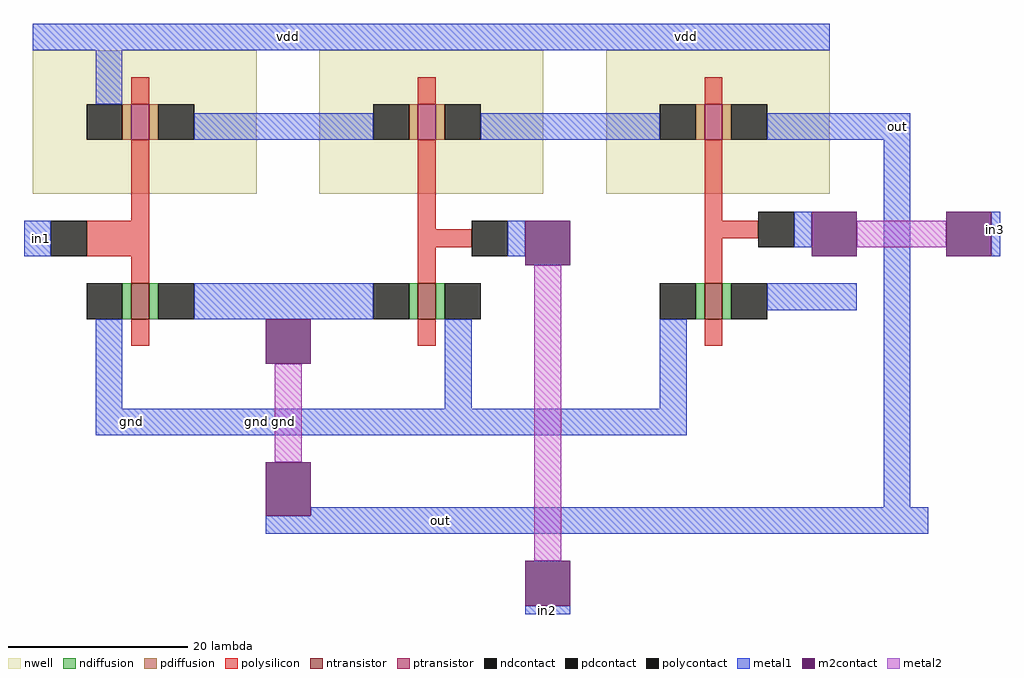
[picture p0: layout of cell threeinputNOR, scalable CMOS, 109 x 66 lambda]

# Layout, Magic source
magic
tech scmos
<< nwell >>
rect 0 0 25 16
rect 32 0 57 16
rect 64 0 89 16
<< ntransistor >>
rect 11 -14 13 -10
rect 43 -14 45 -10
rect 75 -14 77 -10
<< ptransistor >>
rect 11 6 13 10
rect 43 6 45 10
rect 75 6 77 10
<< ndiffusion >>
rect 10 -14 11 -10
rect 13 -14 14 -10
rect 42 -14 43 -10
rect 45 -14 46 -10
rect 74 -14 75 -10
rect 77 -14 78 -10
<< pdiffusion >>
rect 10 6 11 10
rect 13 6 14 10
rect 42 6 43 10
rect 45 6 46 10
rect 74 6 75 10
rect 77 6 78 10
<< ndcontact >>
rect 6 -14 10 -10
rect 14 -14 18 -10
rect 38 -14 42 -10
rect 46 -14 50 -10
rect 70 -14 74 -10
rect 78 -14 82 -10
<< pdcontact >>
rect 6 6 10 10
rect 14 6 18 10
rect 38 6 42 10
rect 46 6 50 10
rect 70 6 74 10
rect 78 6 82 10
<< polysilicon >>
rect 11 10 13 13
rect 43 10 45 13
rect 75 10 77 13
rect 11 -3 13 6
rect 6 -7 13 -3
rect 11 -10 13 -7
rect 43 -4 45 6
rect 75 -3 77 6
rect 43 -6 49 -4
rect 43 -10 45 -6
rect 75 -5 81 -3
rect 75 -10 77 -5
rect 11 -17 13 -14
rect 43 -17 45 -14
rect 75 -17 77 -14
<< polycontact >>
rect 2 -7 6 -3
rect 49 -7 53 -3
rect 81 -6 85 -2
<< metal1 >>
rect 0 16 89 19
rect 7 10 10 16
rect 18 6 38 9
rect 50 6 70 9
rect 82 6 98 9
rect -1 -7 2 -3
rect 53 -7 55 -3
rect 85 -6 87 -2
rect 18 -14 38 -10
rect 82 -13 92 -10
rect 7 -24 10 -14
rect 46 -24 49 -14
rect 70 -24 73 -14
rect 7 -27 73 -24
rect 95 -35 98 6
rect 107 -7 108 -2
rect 31 -36 100 -35
rect 26 -38 100 -36
rect 55 -47 60 -46
<< m2contact >>
rect 55 -8 60 -3
rect 87 -7 92 -2
rect 26 -19 31 -14
rect 26 -36 31 -30
rect 102 -7 107 -2
rect 55 -46 60 -41
<< metal2 >>
rect 92 -6 102 -3
rect 27 -30 30 -19
rect 56 -41 59 -8
<< labels >>
rlabel metal1 0 16 57 19 5 vdd
rlabel metal1 0 -7 2 -3 3 in1
rlabel space 0 -27 50 -24 1 gnd
rlabel metal1 7 -27 49 -24 1 gnd
rlabel metal1 7 -27 15 -24 1 gnd
rlabel metal1 25 16 33 19 5 vdd
rlabel metal1 31 -38 60 -35 1 out
rlabel metal1 57 16 89 19 5 vdd
rlabel metal1 55 -47 60 -46 1 in2
rlabel space 107 -7 108 -1 7 in3
rlabel metal1 95 6 98 9 1 out
<< end >>
